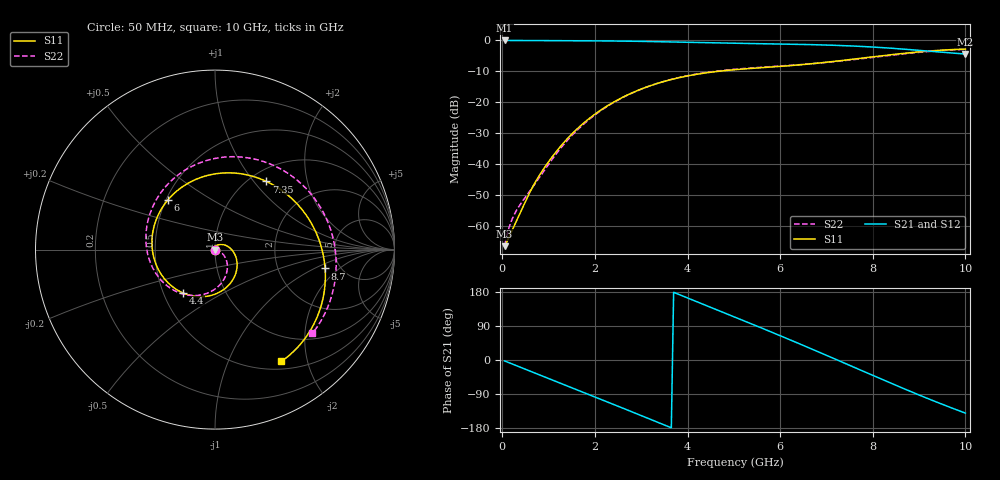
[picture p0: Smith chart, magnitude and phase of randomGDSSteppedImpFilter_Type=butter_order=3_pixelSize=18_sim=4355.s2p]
! freq	dB(S11)	phase(S11)	dB(S12)	phase(S12)
!  dB(S21)	phase(S21)	dB(S22)	phase(S22)
!S-par simulation data
#  GHz  S  DB  R 50
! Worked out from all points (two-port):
!   200 points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, 50 MHz to 10 GHz, reference 50 ohm
!   highest |S21| = -0.01 dB at 50 MHz (marker M1); lowest = -4.4 dB at 10 GHz (marker M2)
!   |S21| within 3 dB of the highest: start of sweep to 8.833 GHz
!   lowest |S11| = -66.4 dB at 50 MHz (marker M3), VSWR 1.00, Z = 50 - j0.0169 ohm
!   |S11| at or under -10 dB: start of sweep to 4.643 GHz
!   |S22| runs from -66.1 to -2.9 dB; largest |S21 - S12| = 0
!   S11 on the Smith chart (normalised r, x): 50 MHz: 1.00, -0.00; 4.4 GHz: 0.63, -0.33; 6 GHz: 0.51, +0.33; 7.35 GHz: 1.19, +1.16; 8.7 GHz: 3.81, -1.31; 10 GHz: 0.60, -1.59
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0.05  -66.40 -20.6  -0.01 -2.5  -0.01 -2.5  -66.12 -15.4
0.2  -61.67 -95.6  -0.02 -9.8  -0.02 -9.8  -58.13 -53.1
0.35  -56.83 -143.7  -0.03 -17.0  -0.03 -17.0  -53.78 -53.0
0.65  -47.43 152.7  -0.04 -31.6  -0.04 -31.6  -47.47 -38.6
0.95  -40.20 112.3  -0.06 -46.1  -0.06 -46.1  -40.98 -24.4
1.35  -32.60 71.3  -0.08 -65.6  -0.08 -65.6  -33.19 -20.4
1.75  -26.76 39.0  -0.11 -85.1  -0.11 -85.1  -27.11 -27.2
2.5  -19.12 -11.7  -0.20 -122.0  -0.20 -122.0  -19.23 -51.1
2.95  -15.98 -39.6  -0.29 -144.2  -0.29 -144.2  -16.02 -68.1
3.4  -13.63 -66.7  -0.41 -166.5  -0.41 -166.5  -13.62 -85.8
3.9  -11.75 -96.4  -0.57 168.7  -0.57 168.7  -11.69 -105.5
4.4  -10.46 -126.3  -0.73 144.1  -0.73 144.1  -10.36 -125.0
5.05  -9.40 -166.0  -0.92 111.9  -0.92 111.9  -9.26 -149.7
5.55  -8.84 162.5  -1.04 87.0  -1.04 87.0  -8.70 -168.5
6  -8.38 133.7  -1.15 64.2  -1.15 64.2  -8.26 174.2
6.7  -7.49 89.9  -1.36 28.1  -1.36 28.1  -7.49 144.8
7.35  -6.45 52.9  -1.67 -6.1  -1.67 -6.1  -6.57 112.9
7.8  -5.66 30.1  -1.97 -29.9  -1.97 -29.9  -5.82 87.9
8.35  -4.69 5.0  -2.46 -58.9  -2.46 -58.9  -4.86 55.2
8.7  -4.12 -9.7  -2.85 -77.1  -2.85 -77.1  -4.28 33.9
9.35  -3.27 -35.4  -3.66 -109.7  -3.66 -109.7  -3.39 -4.7
10  -2.80 -59.3  -4.37 -140.1  -4.37 -140.1  -2.90 -40.7
